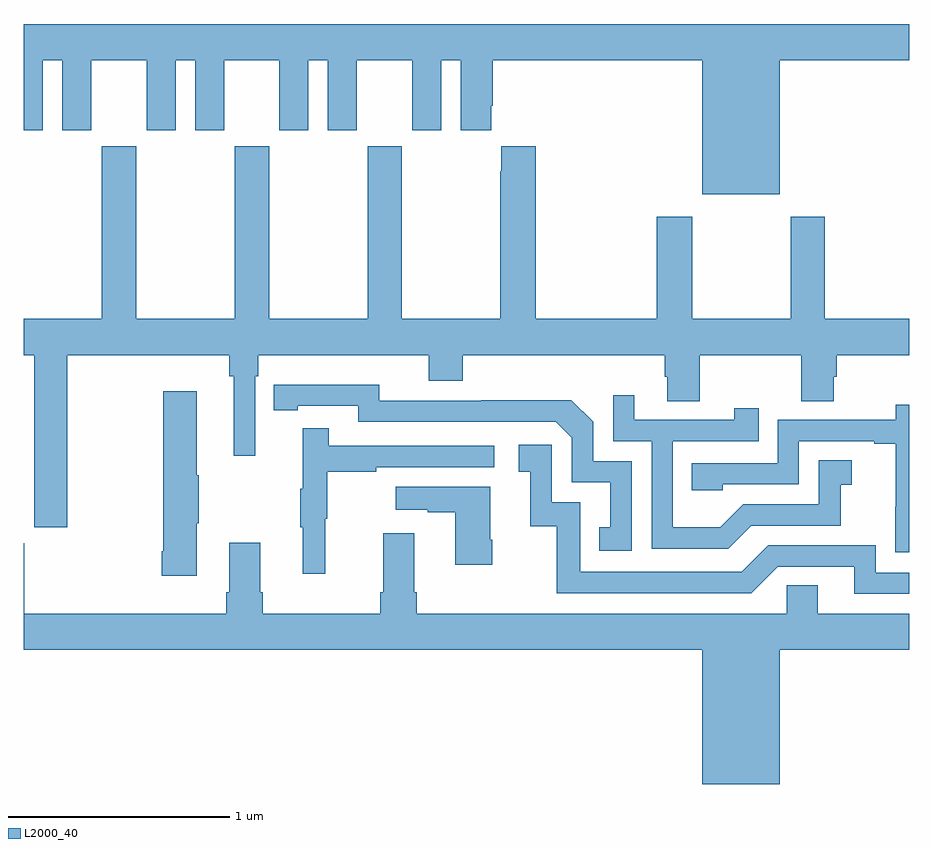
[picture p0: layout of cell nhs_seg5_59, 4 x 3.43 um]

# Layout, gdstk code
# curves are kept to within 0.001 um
import gdstk
lib = gdstk.Library(unit=1e-6, precision=1e-09)
def P(c, l, *ps):  # polygons
    for p in ps: c.add(gdstk.Polygon(p, *l))
L2000_40 = (2000, 40)

nhs_seg5_59 = lib.new_cell('nhs_seg5_59')
P(nhs_seg5_59, L2000_40, [(116.416,878.072),(117,878.072),(117,878.236),(113,878.236),(113,877.755),(113.086,877.755),(113.086,878.072),(113.174,878.072),(113.174,877.755),(113.305,877.755),(113.305,878.072),(113.555,878.072),(113.555,877.755),(113.686,877.755),(113.686,878.072),(113.774,878.072),(113.774,877.755),(113.905,877.755),(113.905,878.072),(114.155,878.072),(114.155,877.755),(114.286,877.755),(114.286,878.072),(114.374,878.072),(114.374,877.755),(114.505,877.755),(114.505,878.072),(114.755,878.072),(114.755,877.755),(114.886,877.755),(114.886,878.072),(114.974,878.072),(114.974,877.755),(115.111,877.755),(115.111,877.867),(115.118,877.867),(115.118,878.072),(116.066,878.072),(116.066,877.466),(116.416,877.466)],
  [(113.196,876.74),(113.929,876.74),(113.929,876.644),(113.948,876.644),(113.948,876.285),(114.045,876.285),(114.045,876.644),(114.059,876.644),(114.059,876.74),(114.83,876.74),(114.83,876.623),(114.983,876.623),(114.983,876.74),(115.895,876.74),(115.895,876.642),(115.907,876.642),(115.907,876.532),(116.055,876.532),(116.055,876.74),(116.512,876.74),(116.512,876.532),(116.659,876.532),(116.659,876.642),(116.672,876.642),(116.672,876.74),(117,876.74),(117,876.904),(116.619,876.904),(116.619,877.366),(116.464,877.366),(116.464,876.904),(116.019,876.904),(116.019,877.366),(115.859,877.366),(115.859,876.904),(115.313,876.904),(115.313,877.684),(115.157,877.684),(115.157,877.571),(115.153,877.571),(115.153,876.904),(114.708,876.904),(114.708,877.684),(114.553,877.684),(114.553,876.904),(114.108,876.904),(114.108,877.684),(113.953,877.684),(113.953,876.904),(113.508,876.904),(113.508,877.684),(113.353,877.684),(113.353,876.904),(113,876.904),(113,876.74),(113.048,876.74),(113.048,875.961),(113.196,875.961)],
  [(115.746,876.261),(115.572,876.261),(115.572,876.438),(115.474,876.536),(115.066,876.536),(115.066,876.534),(114.606,876.534),(114.606,876.607),(114.13,876.606),(114.13,876.49),(114.238,876.49),(114.238,876.51),(114.51,876.51),(114.51,876.438),(115.404,876.438),(115.476,876.366),(115.476,876.165),(115.649,876.165),(115.649,875.961),(115.6,875.961),(115.6,875.856),(115.746,875.856)],
  [(113.782,875.98),(113.79,875.98),(113.79,876.197),(113.782,876.197),(113.782,876.577),(113.629,876.577),(113.629,875.854),(113.624,875.854),(113.624,875.742),(113.782,875.742)],
  [(116.287,875.97),(116.691,875.97),(116.691,876.155),(116.74,876.155),(116.74,876.265),(116.592,876.265),(116.592,876.066),(116.25,876.066),(116.146,875.962),(115.932,875.962),(115.932,876.351),(116.321,876.351),(116.321,876.499),(116.21,876.499),(116.21,876.447),(115.759,876.447),(115.759,876.559),(115.662,876.559),(115.662,876.351),(115.836,876.351),(115.836,875.865),(116.182,875.865)],
  [(117,876.516),(116.94,876.516),(116.94,876.447),(116.406,876.447),(116.406,876.252),(116.017,876.252),(116.017,876.129),(116.157,876.129),(116.157,876.156),(116.502,876.156),(116.502,876.351),(116.843,876.351),(116.843,876.339),(116.939,876.339),(116.939,876.055),(116.938,876.055),(116.938,875.849),(117,875.849)],
  [(114.362,876),(114.37,876),(114.37,876.214),(114.593,876.214),(114.593,876.234),(115.126,876.234),(115.126,876.33),(114.377,876.33),(114.377,876.409),(114.26,876.409),(114.26,876.137),(114.249,876.137),(114.249,875.963),(114.26,875.963),(114.26,875.751),(114.362,875.751)],
  [(117,875.757),(116.85,875.757),(116.85,875.88),(116.364,875.88),(116.244,875.76),(115.515,875.76),(115.515,876.075),(115.386,876.075),(115.386,876.334),(115.236,876.334),(115.236,876.213),(115.289,876.213),(115.289,875.967),(115.407,875.967),(115.407,875.664),(116.286,875.664),(116.406,875.784),(116.753,875.784),(116.753,875.661),(117,875.661)],
  [(115.116,875.905),(115.108,875.905),(115.108,876.145),(114.681,876.145),(114.681,876.041),(114.824,876.041),(114.824,876.031),(114.95,876.031),(114.95,875.793),(115.116,875.793)],
  [(116.416,875.408),(117,875.408),(117,875.572),(116.587,875.572),(116.587,875.699),(116.448,875.699),(116.448,875.572),(114.776,875.572),(114.776,875.668),(114.763,875.668),(114.763,875.935),(114.623,875.935),(114.623,875.668),(114.611,875.668),(114.611,875.572),(114.08,875.572),(114.08,875.668),(114.067,875.668),(114.067,875.893),(113.927,875.893),(113.927,875.668),(113.915,875.668),(113.915,875.572),(113.002,875.572),(113.002,875.889),(113,875.889),(113,875.408),(116.066,875.408),(116.066,874.802),(116.416,874.802)])

lib.write_gds('nhs_seg5_59.gds')
